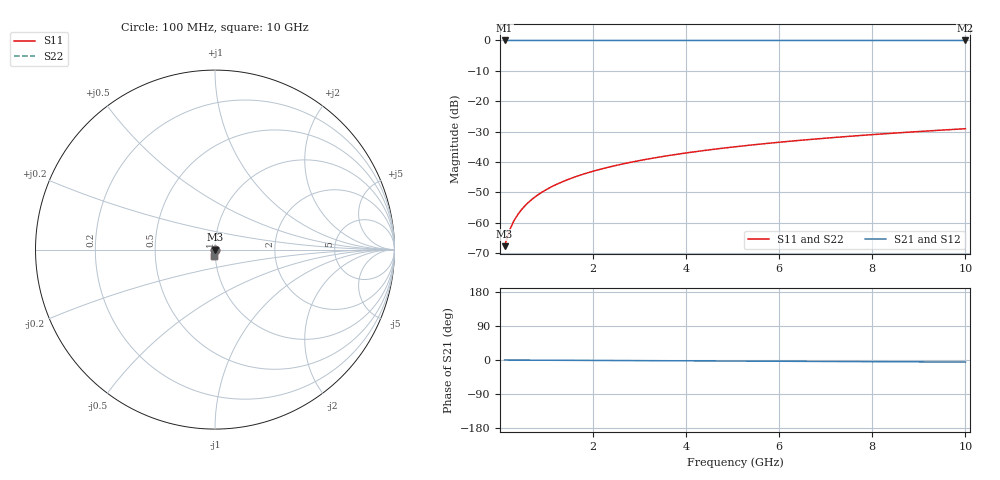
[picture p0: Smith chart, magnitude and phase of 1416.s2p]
# Hz S RI R 50.00
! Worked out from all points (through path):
!   100 points, 100 MHz to 10 GHz, reference 50 ohm
!   highest |S21| = 0.00 dB at 100 MHz (marker M1); lowest = 0.0 dB at 10 GHz (marker M2)
!   lowest |S11| = -67.8 dB at 100 MHz (marker M3), VSWR 1.00, Z = 50 - j0.035 ohm
!   |S11| at or under -10 dB: start of sweep to end of sweep
!   |S22| runs from -67.8 to -29.1 dB; largest |S21 - S12| = 0
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1e8  0.00021 -0.00035  0.9998 -0.000958  0.9998 -0.000958  0.00021 -0.00035
2e8  0.00021 -0.0007  0.9998 -0.00192  0.9998 -0.00192  0.00021 -0.0007
3e8  0.000209 -0.00105  0.9998 -0.00287  0.9998 -0.00287  0.000209 -0.00105
4e8  0.000207 -0.0014  0.9998 -0.00383  0.9998 -0.00383  0.000207 -0.0014
5e8  0.000204 -0.00175  0.9998 -0.00479  0.9998 -0.00479  0.000204 -0.00175
6e8  0.0002 -0.0021  0.9998 -0.00575  0.9998 -0.00575  0.0002 -0.0021
7e8  0.000196 -0.00245  0.9998 -0.0067  0.9998 -0.0067  0.000196 -0.00245
8e8  0.000191 -0.0028  0.9997 -0.00766  0.9997 -0.00766  0.000191 -0.0028
9e8  0.000185 -0.00315  0.9997 -0.00862  0.9997 -0.00862  0.000185 -0.00315
1.1e9  0.000171 -0.00385  0.9997 -0.0105  0.9997 -0.0105  0.000171 -0.00385
1.4e9  0.000146 -0.0049  0.9997 -0.0134  0.9997 -0.0134  0.000146 -0.0049
1.8e9  0.000102 -0.0063  0.9996 -0.0172  0.9996 -0.0172  0.000102 -0.0063
2.1e9  6.17e-05 -0.00735  0.9995 -0.0201  0.9995 -0.0201  6.17e-05 -0.00735
2.5e9  -1.22e-06 -0.00875  0.9994 -0.024  0.9994 -0.024  -1.22e-06 -0.00875
2.9e9  -7.5e-05 -0.0102  0.9993 -0.0278  0.9993 -0.0278  -7.5e-05 -0.0102
3.4e9  -0.000182 -0.0119  0.9991 -0.0326  0.9991 -0.0326  -0.000182 -0.0119
4.2e9  -0.00039 -0.0147  0.9988 -0.0403  0.9988 -0.0403  -0.00039 -0.0147
5.1e9  -0.000674 -0.0179  0.9984 -0.0489  0.9984 -0.0489  -0.000674 -0.0179
5.9e9  -0.000974 -0.0207  0.9979 -0.0566  0.9979 -0.0566  -0.000974 -0.0207
6.7e9  -0.00132 -0.0235  0.9974 -0.0642  0.9974 -0.0642  -0.00132 -0.0235
8.4e9  -0.00219 -0.0294  0.996 -0.0806  0.996 -0.0806  -0.00219 -0.0294
1e10  -0.00319 -0.035  0.9945 -0.0959  0.9945 -0.0959  -0.00319 -0.035
